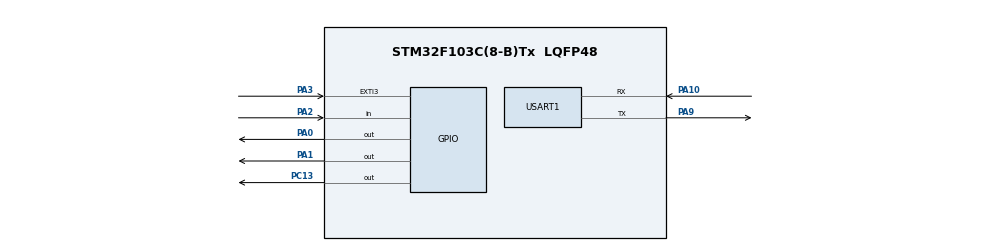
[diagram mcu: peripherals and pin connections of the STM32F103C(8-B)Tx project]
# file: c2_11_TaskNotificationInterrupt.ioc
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Mcu.Family=STM32F1
Mcu.Name=STM32F103C(8-B)Tx
Mcu.Package=LQFP48
NVIC.EXTI3_IRQn=true\:7\:0\:true\:false\:true\:true\:true\:true
NVIC.PriorityGroup=NVIC_PRIORITYGROUP_4
NVIC.TIM4_IRQn=true\:15\:0\:false\:false\:true\:false\:true\:true
NVIC.TimeBase=TIM4_IRQn
NVIC.TimeBaseIP=TIM4
PA0-WKUP.Signal=GPIO_Output
PA1.Signal=GPIO_Output
PA10.Mode=Asynchronous
PA10.Signal=USART1_RX
PA2.Signal=GPIO_Input
PA3.Signal=GPXTI3
PA9.Mode=Asynchronous
PA9.Signal=USART1_TX
PC13-TAMPER-RTC.Signal=GPIO_Output
ProjectManager.HeapSize=0x200
ProjectManager.StackSize=0x400
ProjectManager.TargetToolchain=STM32CubeIDE
RCC.APB1Freq_Value=8000000
RCC.APB2Freq_Value=8000000
USART1.VirtualMode=VM_ASYNC
VP_SYS_VS_ND.Mode=No_Debug
VP_SYS_VS_tim4.Mode=TIM4
board=custom

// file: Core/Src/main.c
/* USER CODE BEGIN Header */
/**
  ******************************************************************************
  * @file           : main.c
  * @brief          : Main program body
  ******************************************************************************
  * @attention
  *
  * Copyright (c) 2025 STMicroelectronics.
  * All rights reserved.
  *
  * This software is licensed under terms that can be found in the LICENSE file
  * in the root directory of this software component.
  * If no LICENSE file comes with this software, it is provided AS-IS.
  *
  ******************************************************************************
  */
/* USER CODE END Header */
#include "main.h"

/* USER CODE BEGIN Includes */
#include "FreeRTOS.h"
#include "task.h"
#include "stdio.h"
#include <string.h>
/* USER CODE END Includes */

/* USER CODE BEGIN PTD */
uint8_t str[20];
/* USER CODE END PTD */

UART_HandleTypeDef huart1;

void SystemClock_Config(void);
static void MX_GPIO_Init(void);
static void MX_USART1_UART_Init(void);
/* USER CODE BEGIN PFP */

//void ledhigh_handler();
void ledisr_handler();
uint8_t inttostr(int num) ;
void delay(int time);
/* USER CODE END PFP */

/* USER CODE BEGIN 0 */
TaskHandle_t ledhigh_handle,ledisr_handle;
/* USER CODE END 0 */

int main(void)
{

  /* USER CODE BEGIN 1 */
	BaseType_t status;
  /* USER CODE END 1 */

  /* MCU Configuration--------------------------------------------------------*/

  /* Reset of all peripherals, Initializes the Flash interface and the Systick. */
  HAL_Init();

  /* Configure the system clock */
  SystemClock_Config();

  /* Initialize all configured peripherals */
  MX_GPIO_Init();
  MX_USART1_UART_Init();
  HAL_GPIO_WritePin(GPIOC, GPIO_PIN_13, GPIO_PIN_SET);
  /* USER CODE BEGIN 2 */
//  status =xTaskCreate(ledhigh_handler, "Ledhigh", 300, NULL, 1, &ledhigh_handle);
//  configASSERT(status == pdTRUE);

  status =xTaskCreate(ledisr_handler, "Ledisr", 300, NULL, 5, &ledisr_handle);
  configASSERT(status == pdTRUE);

  vTaskStartScheduler();
  /* USER CODE END 2 */

  /* Infinite loop */
  while (1)
  {

  }
}

void SystemClock_Config(void)
{
  RCC_OscInitTypeDef RCC_OscInitStruct = {0};
  RCC_ClkInitTypeDef RCC_ClkInitStruct = {0};

  /** Initializes the RCC Oscillators according to the specified parameters
  * in the RCC_OscInitTypeDef structure.
  */
  RCC_OscInitStruct.OscillatorType = RCC_OSCILLATORTYPE_HSI;
  RCC_OscInitStruct.HSIState = RCC_HSI_ON;
  RCC_OscInitStruct.HSICalibrationValue = RCC_HSICALIBRATION_DEFAULT;
  RCC_OscInitStruct.PLL.PLLState = RCC_PLL_NONE;
  if (HAL_RCC_OscConfig(&RCC_OscInitStruct) != HAL_OK)
  {
    Error_Handler();
  }

  /** Initializes the CPU, AHB and APB buses clocks
  */
  RCC_ClkInitStruct.ClockType = RCC_CLOCKTYPE_HCLK|RCC_CLOCKTYPE_SYSCLK
                              |RCC_CLOCKTYPE_PCLK1|RCC_CLOCKTYPE_PCLK2;
  RCC_ClkInitStruct.SYSCLKSource = RCC_SYSCLKSOURCE_HSI;
  RCC_ClkInitStruct.AHBCLKDivider = RCC_SYSCLK_DIV1;
  RCC_ClkInitStruct.APB1CLKDivider = RCC_HCLK_DIV1;
  RCC_ClkInitStruct.APB2CLKDivider = RCC_HCLK_DIV1;

  if (HAL_RCC_ClockConfig(&RCC_ClkInitStruct, FLASH_LATENCY_0) != HAL_OK)
  {
    Error_Handler();
  }
}

static void MX_USART1_UART_Init(void)
{

  huart1.Instance = USART1;
  huart1.Init.BaudRate = 115200;
  huart1.Init.WordLength = UART_WORDLENGTH_8B;
  huart1.Init.StopBits = UART_STOPBITS_1;
  huart1.Init.Parity = UART_PARITY_NONE;
  huart1.Init.Mode = UART_MODE_TX_RX;
  huart1.Init.HwFlowCtl = UART_HWCONTROL_NONE;
  huart1.Init.OverSampling = UART_OVERSAMPLING_16;
  if (HAL_UART_Init(&huart1) != HAL_OK)
  {
    Error_Handler();
  }

}

static void MX_GPIO_Init(void)
{
  GPIO_InitTypeDef GPIO_InitStruct = {0};

  /* GPIO Ports Clock Enable */
  __HAL_RCC_GPIOC_CLK_ENABLE();
  __HAL_RCC_GPIOA_CLK_ENABLE();

  /*Configure GPIO pin Output Level */

  /*Configure GPIO pin Output Level */
  HAL_GPIO_WritePin(GPIOA, GPIO_PIN_0|GPIO_PIN_1, GPIO_PIN_RESET);

  /*Configure GPIO pin : PC13 */
  GPIO_InitStruct.Pin = GPIO_PIN_13;
  GPIO_InitStruct.Mode = GPIO_MODE_OUTPUT_PP;
  GPIO_InitStruct.Pull = GPIO_NOPULL;
  GPIO_InitStruct.Speed = GPIO_SPEED_FREQ_LOW;
  HAL_GPIO_Init(GPIOC, &GPIO_InitStruct);

  /*Configure GPIO pins : PA0 PA1 */
  GPIO_InitStruct.Pin = GPIO_PIN_0|GPIO_PIN_1;
  GPIO_InitStruct.Mode = GPIO_MODE_OUTPUT_PP;
  GPIO_InitStruct.Pull = GPIO_NOPULL;
  GPIO_InitStruct.Speed = GPIO_SPEED_FREQ_LOW;
  HAL_GPIO_Init(GPIOA, &GPIO_InitStruct);

  /*Configure GPIO pin : PA2 */
  GPIO_InitStruct.Pin = GPIO_PIN_2;
  GPIO_InitStruct.Mode = GPIO_MODE_INPUT;
  GPIO_InitStruct.Pull = GPIO_NOPULL;
  HAL_GPIO_Init(GPIOA, &GPIO_InitStruct);

  /*Configure GPIO pin : PA3 */
  GPIO_InitStruct.Pin = GPIO_PIN_3;
  GPIO_InitStruct.Mode = GPIO_MODE_IT_RISING;
  GPIO_InitStruct.Pull = GPIO_NOPULL;
  HAL_GPIO_Init(GPIOA, &GPIO_InitStruct);

  /* EXTI interrupt init*/
  HAL_NVIC_SetPriority(EXTI3_IRQn, 7, 0);
  HAL_NVIC_EnableIRQ(EXTI3_IRQn);

}

/* USER CODE BEGIN 4 */

//void ledhigh_handler(){
//	while(1){
//		HAL_GPIO_WritePin(GPIOC, GPIO_PIN_13, GPIO_PIN_RESET);
////	while(HAL_GPIO_ReadPin(GPIOA, GPIO_PIN_2) == 1){
////		HAL_GPIO_WritePin(GPIOA, GPIO_PIN_0, 1);
////		vTaskDelay(pdMS_TO_TICKS(100));
////	}
//	HAL_GPIO_WritePin(GPIOA, GPIO_PIN_0, 0);
//	vTaskDelay(pdMS_TO_TICKS(100));
//	}
//}

void ledisr_handler(){
	BaseType_t status;
	//uint32_t pulnotificationvalue=0 ;

	int i =0;
	while(1){

		status =xTaskNotifyWait(0x0,0x0,NULL,pdMS_TO_TICKS(500));
		if(status == pdTRUE){
			//HAL_GPIO_WritePin(GPIOC, GPIO_PIN_13, GPIO_PIN_RESET);
			for(i=0;i<6;i++){
			HAL_GPIO_TogglePin(GPIOC, GPIO_PIN_13);
			delay(1000);
			}
		}
		else{
			HAL_GPIO_WritePin(GPIOC, GPIO_PIN_13, GPIO_PIN_RESET);
		}
		vTaskDelay(pdMS_TO_TICKS(500));
	}
}

void HAL_GPIO_EXTI_Callback(uint16_t GPIO_Pin)
{
    if (GPIO_Pin == GPIO_PIN_3)
    {

        // Action when PA3 interrupt occurs

    	BaseType_t xHigherPriorityTaskWoken = pdFALSE;
//    	xTaskNotifyFromISR(ledisr_handle,100,eSetValueWithOverwrite,&xHigherPriorityTaskWoken);
    	xTaskNotifyFromISR(ledisr_handle,0,eNoAction,NULL);
        portYIELD_FROM_ISR( xHigherPriorityTaskWoken );   //xHigherPriorityTaskWoken if 1, switching happens or else no
    }
}

void delay(int time){
	int i , j =0;
	for (i=0;i<time;i++)
		for(j=0;j<10;j++);
}

uint8_t inttostr(int num) {
    int i = 0;

    // Handle 0 explicitly
    if (num == 0) {
        str[i++] = '0';
        str[i] = '\0';
        return 1;
    }

    // Extract digits (in reverse order)
    while (num != 0) {
        int digit = num % 10;
        str[i++] = digit + '0';
        num /= 10;
    }

    // Null terminate the string
    str[i] = '\0';

    // Reverse the string
    for (int j = 0, k = i - 1; j < k; j++, k--) {
        char temp = str[j];
        str[j] = str[k];
        str[k] = temp;
    }
    return i;
}

//
void vApplicationStackOverflowHook(TaskHandle_t xTask, char *pcTaskName) {
	HAL_GPIO_WritePin(GPIOC, GPIO_PIN_13, GPIO_PIN_RESET);
}

/* USER CODE END 4 */

void HAL_TIM_PeriodElapsedCallback(TIM_HandleTypeDef *htim)
{
  if (htim->Instance == TIM4)
  {
    HAL_IncTick();
  }
}

void Error_Handler(void)
{
  __disable_irq();
  while (1)
  {
  }
}
